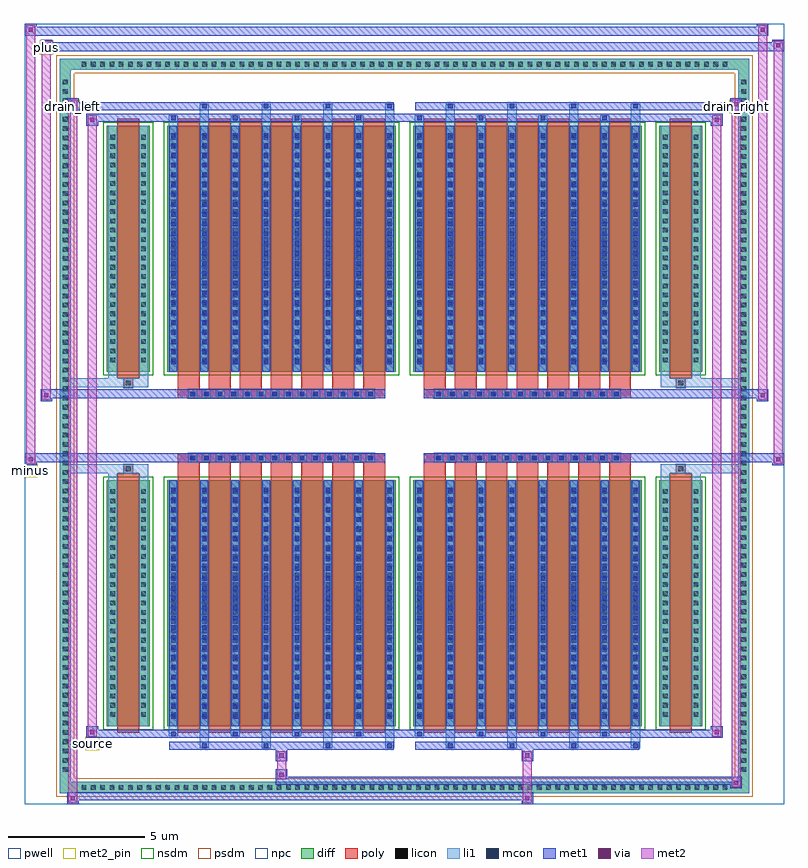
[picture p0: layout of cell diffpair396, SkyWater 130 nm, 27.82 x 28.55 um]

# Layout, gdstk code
import gdstk
lib = gdstk.Library(unit=1e-6, precision=5e-09)
def R(c, l, rs):  # rectangles x0, y0, x1, y1
    for r in rs: c.add(gdstk.rectangle(r[:2], r[2:], *l))
def A(c, l, x, y, w, h, nx, ny, dx, dy):  # array of equal rectangles
    R(c, l, [(x+i*dx, y+j*dy, x+i*dx+w, y+j*dy+h) for i in range(nx) for j in range(ny)])
def P(c, l, *ps):  # polygons
    for p in ps: c.add(gdstk.Polygon(p, *l))
pwell = (64, 44)
diff = (65, 20)
poly = (66, 20)
licon = (66, 44)
li1 = (67, 20)
mcon = (67, 44)
met1 = (68, 20)
via = (68, 44)
met2_pin = (69, 16)
met2 = (69, 20)
nsdm = (93, 44)
psdm = (94, 20)
npc = (95, 20)

diffpair396 = lib.new_cell('diffpair396')
R(diffpair396, pwell, [(-13.89,-13.84,13.89,14.71), (-11.21,-12.03,-0.01,-0.805), (0.01,-12.03,11.21,-0.805), (-11.21,0.805,-0.01,12.03), (0.01,0.805,11.21,12.03)])
A(diffpair396, diff, -11.935, -13.44, 0.41, 0.41, 70, 2, 0.34, 26.47)
A(diffpair396, diff, -12.62, -12.785, 0.41, 0.41, 1, 75, 0, 0.34)
A(diffpair396, diff, 12.21, -12.785, 0.41, 0.41, 1, 75, 0, 0.34)
R(diffpair396, diff, [(-11.935,-13.44,11.935,-13.03), (-12.62,-12.785,-12.21,12.785), (12.21,-12.785,12.62,12.785), (-10.9,-10.985,-9.32,-1.985), (-8.68,-10.985,-0.32,-1.985), (0.32,-10.985,8.68,-1.985), (9.32,-10.985,10.9,-1.985), (-10.9,1.985,-9.32,10.985), (-8.68,1.985,-0.32,10.985), (0.32,1.985,8.68,10.985), (9.32,1.985,10.9,10.985), (-11.935,13.03,11.935,13.44)])
P(diffpair396, diff, [(12.62,13.44),(-12.62,13.44),(-12.62,-13.03),(-12.21,-13.03),(-12.21,13.03),(12.21,13.03),(12.21,-13.03),(-12.21,-13.03),(-12.62,-13.03),(-12.62,-13.44),(12.62,-13.44)])
A(diffpair396, poly, -8.29, -11.235, 0.8, 9.5, 7, 2, 1.13, 12.97)
A(diffpair396, poly, 0.71, -11.235, 0.8, 9.5, 7, 2, 1.13, 12.97)
A(diffpair396, poly, -8.29, -1.735, 0.8, 0.4, 7, 2, 1.13, 3.07)
A(diffpair396, poly, 0.71, -1.735, 0.8, 0.4, 7, 2, 1.13, 3.07)
A(diffpair396, poly, -7.915, -1.335, 0.33, 0.33, 14, 2, 0.5, 2.34)
A(diffpair396, poly, 1.085, -1.335, 0.33, 0.33, 14, 2, 0.5, 2.34)
R(diffpair396, poly, [(-10.51,-11.235,-9.71,-1.735), (9.71,-11.235,10.51,-1.735), (-10.275,-1.735,-9.945,-1.405), (-10.275,-1.735,-9.945,-1.405), (9.945,-1.735,10.275,-1.405), (9.945,-1.735,10.275,-1.405), (-8.29,-1.335,-0.71,-1.005), (0.71,-1.335,8.29,-1.005), (-8.29,1.005,-0.71,1.335), (0.71,1.005,8.29,1.335), (-10.275,1.405,-9.945,1.735), (-10.275,1.405,-9.945,1.735), (9.945,1.405,10.275,1.735), (9.945,1.405,10.275,1.735), (-10.51,1.735,-9.71,11.235), (9.71,1.735,10.51,11.235)])
A(diffpair396, licon, -11.815, -13.32, 0.17, 0.17, 70, 2, 0.34, 26.47)
A(diffpair396, licon, -12.5, -12.665, 0.17, 0.17, 1, 75, 0, 0.34)
A(diffpair396, licon, 12.33, -12.665, 0.17, 0.17, 1, 75, 0, 0.34)
A(diffpair396, licon, -10.76, -10.65, 0.17, 0.17, 1, 25, 0, 0.34)
A(diffpair396, licon, -9.63, -10.65, 0.17, 0.17, 1, 25, 0, 0.34)
A(diffpair396, licon, -8.54, -10.65, 0.17, 0.17, 8, 25, 1.13, 0.34)
A(diffpair396, licon, 0.46, -10.65, 0.17, 0.17, 8, 25, 1.13, 0.34)
A(diffpair396, licon, 9.46, -10.65, 0.17, 0.17, 1, 25, 0, 0.34)
A(diffpair396, licon, 10.59, -10.65, 0.17, 0.17, 1, 25, 0, 0.34)
A(diffpair396, licon, -7.835, -1.255, 0.17, 0.17, 14, 2, 0.5, 2.34)
A(diffpair396, licon, 1.165, -1.255, 0.17, 0.17, 14, 2, 0.5, 2.34)
A(diffpair396, licon, -10.76, 2.32, 0.17, 0.17, 1, 25, 0, 0.34)
A(diffpair396, licon, -9.63, 2.32, 0.17, 0.17, 1, 25, 0, 0.34)
A(diffpair396, licon, -8.54, 2.32, 0.17, 0.17, 8, 25, 1.13, 0.34)
A(diffpair396, licon, 0.46, 2.32, 0.17, 0.17, 8, 25, 1.13, 0.34)
A(diffpair396, licon, 9.46, 2.32, 0.17, 0.17, 1, 25, 0, 0.34)
A(diffpair396, licon, 10.59, 2.32, 0.17, 0.17, 1, 25, 0, 0.34)
R(diffpair396, licon, [(-10.195,-1.655,-10.025,-1.485), (10.025,-1.655,10.195,-1.485), (-10.195,1.485,-10.025,1.655), (10.025,1.485,10.195,1.655)])
A(diffpair396, li1, -11.895, -13.4, 0.33, 0.33, 70, 2, 0.34, 26.47)
A(diffpair396, li1, -12.58, -12.745, 0.33, 0.33, 1, 75, 0, 0.34)
A(diffpair396, li1, 12.25, -12.745, 0.33, 0.33, 1, 75, 0, 0.34)
A(diffpair396, li1, -7.49, -11.79, 0.33, 0.805, 4, 2, 2.26, 22.775)
A(diffpair396, li1, -7.41, -11.79, 0.17, 0.17, 4, 2, 2.26, 23.41)
A(diffpair396, li1, 1.51, -11.79, 0.33, 0.805, 4, 2, 2.26, 22.775)
A(diffpair396, li1, 1.59, -11.79, 0.17, 0.17, 4, 2, 2.26, 23.41)
A(diffpair396, li1, -8.62, -11.36, 0.33, 0.375, 4, 2, 2.26, 22.345)
A(diffpair396, li1, -8.54, -11.36, 0.17, 0.17, 4, 2, 2.26, 22.55)
A(diffpair396, li1, 0.38, -11.36, 0.33, 0.375, 4, 2, 2.26, 22.345)
A(diffpair396, li1, 0.46, -11.36, 0.17, 0.17, 4, 2, 2.26, 22.55)
A(diffpair396, li1, -8.62, -10.985, 0.33, 9, 8, 2, 1.13, 12.97)
A(diffpair396, li1, 0.38, -10.985, 0.33, 9, 8, 2, 1.13, 12.97)
A(diffpair396, li1, -10.84, -10.73, 0.33, 0.33, 1, 25, 0, 0.34)
A(diffpair396, li1, -9.71, -10.73, 0.33, 0.33, 1, 25, 0, 0.34)
A(diffpair396, li1, -8.62, -10.73, 0.33, 0.33, 8, 25, 1.13, 0.34)
A(diffpair396, li1, 0.38, -10.73, 0.33, 0.33, 8, 25, 1.13, 0.34)
A(diffpair396, li1, 9.38, -10.73, 0.33, 0.33, 1, 25, 0, 0.34)
A(diffpair396, li1, 10.51, -10.73, 0.33, 0.33, 1, 25, 0, 0.34)
A(diffpair396, li1, -8.54, -10.71, 0.17, 0.17, 8, 24, 1.13, 0.36)
A(diffpair396, li1, -8.54, -10.71, 0.17, 8.45, 8, 2, 1.13, 12.97)
A(diffpair396, li1, 0.46, -10.71, 0.17, 0.17, 8, 24, 1.13, 0.36)
A(diffpair396, li1, 0.46, -10.71, 0.17, 8.45, 8, 2, 1.13, 12.97)
A(diffpair396, li1, -7.915, -1.335, 0.33, 0.33, 14, 2, 0.5, 2.34)
A(diffpair396, li1, 1.085, -1.335, 0.33, 0.33, 14, 2, 0.5, 2.34)
A(diffpair396, li1, -10.84, 2.24, 0.33, 0.33, 1, 25, 0, 0.34)
A(diffpair396, li1, -9.71, 2.24, 0.33, 0.33, 1, 25, 0, 0.34)
A(diffpair396, li1, -8.62, 2.24, 0.33, 0.33, 8, 25, 1.13, 0.34)
A(diffpair396, li1, 0.38, 2.24, 0.33, 0.33, 8, 25, 1.13, 0.34)
A(diffpair396, li1, 9.38, 2.24, 0.33, 0.33, 1, 25, 0, 0.34)
A(diffpair396, li1, 10.51, 2.24, 0.33, 0.33, 1, 25, 0, 0.34)
A(diffpair396, li1, -8.54, 2.26, 0.17, 0.17, 8, 24, 1.13, 0.36)
A(diffpair396, li1, 0.46, 2.26, 0.17, 0.17, 8, 24, 1.13, 0.36)
R(diffpair396, li1, [(-12.62,-13.44,-12.21,-13.03), (-12.62,-13.44,-12.21,-13.03), (-12.21,-13.44,12.21,-13.03), (12.21,-13.44,12.62,-13.03), (12.21,-13.44,12.62,-13.03), (-12.62,-13.03,-12.21,13.03), (12.21,-13.03,12.62,13.03), (-10.84,-10.985,-10.51,-1.985), (-9.71,-10.985,-9.38,-1.985), (9.38,-10.985,9.71,-1.985), (10.51,-10.985,10.84,-1.985), (-10.84,-1.985,-10.51,-1.405), (-9.71,-1.985,-9.38,-1.405), (9.38,-1.985,9.71,-1.405), (10.51,-1.985,10.84,-1.405), (-12.62,-1.735,-10.275,-1.405), (-10.84,-1.735,-10.275,-1.405), (-10.275,-1.735,-9.945,-1.405), (-9.945,-1.735,-9.38,-1.405), (9.38,-1.735,9.945,-1.405), (9.945,-1.735,10.275,-1.405), (9.945,-1.735,12.62,-1.405), (10.275,-1.735,10.84,-1.405), (-12.62,1.405,-10.275,1.735), (-10.84,1.405,-10.275,1.735), (-10.84,1.405,-10.51,1.985), (-10.275,1.405,-9.945,1.735), (-9.945,1.405,-9.38,1.735), (-9.71,1.405,-9.38,1.985), (9.38,1.405,9.945,1.735), (9.38,1.405,9.71,1.985), (9.945,1.405,10.275,1.735), (9.945,1.405,12.62,1.735), (10.275,1.405,10.84,1.735), (10.51,1.405,10.84,1.985), (-10.84,1.985,-10.51,10.985), (-9.71,1.985,-9.38,10.985), (9.38,1.985,9.71,10.985), (10.51,1.985,10.84,10.985), (-12.62,13.03,-12.21,13.44), (-12.62,13.03,-12.21,13.44), (-12.21,13.03,12.21,13.44), (12.21,13.03,12.62,13.44), (12.21,13.03,12.62,13.44)])
A(diffpair396, mcon, -7.41, -11.79, 0.17, 0.17, 4, 2, 2.26, 23.41)
A(diffpair396, mcon, 1.59, -11.79, 0.17, 0.17, 4, 2, 2.26, 23.41)
A(diffpair396, mcon, -8.54, -11.36, 0.17, 0.17, 4, 2, 2.26, 22.55)
A(diffpair396, mcon, 0.46, -11.36, 0.17, 0.17, 4, 2, 2.26, 22.55)
A(diffpair396, mcon, -8.54, -10.71, 0.17, 0.17, 8, 24, 1.13, 0.36)
A(diffpair396, mcon, 0.46, -10.71, 0.17, 0.17, 8, 24, 1.13, 0.36)
A(diffpair396, mcon, -7.835, -1.255, 0.17, 0.17, 14, 2, 0.5, 2.34)
A(diffpair396, mcon, 1.165, -1.255, 0.17, 0.17, 14, 2, 0.5, 2.34)
A(diffpair396, mcon, -8.54, 2.26, 0.17, 0.17, 8, 24, 1.13, 0.36)
A(diffpair396, mcon, 0.46, 2.26, 0.17, 0.17, 8, 24, 1.13, 0.36)
A(diffpair396, met1, -7.47, -11.85, 0.29, 0.29, 4, 2, 2.26, 23.41)
A(diffpair396, met1, 1.53, -11.85, 0.29, 0.29, 4, 2, 2.26, 23.41)
A(diffpair396, met1, -8.6, -11.42, 0.29, 0.29, 4, 2, 2.26, 22.55)
A(diffpair396, met1, 0.4, -11.42, 0.29, 0.29, 4, 2, 2.26, 22.55)
A(diffpair396, met1, -8.6, -10.985, 0.29, 9, 8, 2, 1.13, 12.97)
A(diffpair396, met1, 0.4, -10.985, 0.29, 9, 8, 2, 1.13, 12.97)
A(diffpair396, met1, -8.6, -10.77, 0.29, 0.29, 8, 24, 1.13, 0.36)
A(diffpair396, met1, 0.4, -10.77, 0.29, 0.29, 8, 24, 1.13, 0.36)
A(diffpair396, met1, -7.895, -1.315, 0.29, 0.29, 14, 2, 0.5, 2.34)
A(diffpair396, met1, 1.105, -1.315, 0.29, 0.29, 14, 2, 0.5, 2.34)
A(diffpair396, met1, -8.6, 2.2, 0.29, 0.29, 8, 24, 1.13, 0.36)
A(diffpair396, met1, 0.4, 2.2, 0.29, 0.29, 8, 24, 1.13, 0.36)
R(diffpair396, met1, [(-12.35,-13.84,-11.92,-13.41), (4.285,-13.84,4.715,-13.41), (-12.35,-13.7,4.715,-13.41), (11.92,-13.27,12.35,-12.84), (-4.715,-13.13,12.35,-12.84), (-4.715,-12.99,-4.285,-12.56), (-4.715,-12.28,-4.285,-11.85), (4.285,-12.28,4.715,-11.85), (-8.6,-11.85,-0.4,-11.56), (0.4,-11.85,8.6,-11.56), (-11.64,-11.42,-11.21,-10.99), (-11.64,-11.42,-8.6,-11.13), (-8.6,-11.42,-0.4,-11.13), (-0.4,-11.42,0.4,-11.13), (0.4,-11.42,8.6,-11.13), (8.6,-11.42,11.64,-11.13), (11.21,-11.42,11.64,-10.99), (-13.89,-1.435,-13.46,-1.005), (13.46,-1.435,13.89,-1.005), (-13.89,-1.335,-0.71,-1.005), (-8.29,-1.335,-0.71,-1.005), (0.71,-1.335,8.29,-1.005), (0.71,-1.335,13.89,-1.005), (-13.32,0.905,-12.89,1.335), (12.89,0.905,13.32,1.335), (-13.32,1.005,-8.29,1.335), (-8.29,1.005,-0.71,1.335), (0.71,1.005,8.29,1.335), (8.29,1.005,13.32,1.335), (-11.64,10.99,-11.21,11.42), (11.21,10.99,11.64,11.42), (-11.64,11.13,-8.6,11.42), (-8.6,11.13,-0.4,11.42), (-0.4,11.13,0.4,11.42), (0.4,11.13,8.6,11.42), (8.6,11.13,11.64,11.42), (-12.35,11.56,-11.92,11.99), (-12.35,11.56,-8.6,11.85), (-8.6,11.56,-0.4,11.85), (0.4,11.56,8.6,11.85), (8.6,11.56,12.35,11.85), (11.92,11.56,12.35,11.99), (-13.32,13.71,-12.89,14.14), (-13.32,13.71,-11.21,14.04), (-11.21,13.71,11.21,14.04), (11.21,13.71,13.89,14.04), (13.46,13.71,13.89,14.14), (-13.89,14.28,-13.46,14.71), (-13.89,14.28,-11.21,14.61), (-11.21,14.28,11.21,14.61), (11.21,14.28,13.32,14.61), (12.89,14.28,13.32,14.71)])
R(diffpair396, via, [(-12.21,-13.7,-12.06,-13.55), (4.425,-13.7,4.575,-13.55), (12.06,-13.13,12.21,-12.98), (-4.575,-12.85,-4.425,-12.7), (-4.575,-12.14,-4.425,-11.99), (4.425,-12.14,4.575,-11.99), (-11.5,-11.28,-11.35,-11.13), (11.35,-11.28,11.5,-11.13), (-13.75,-1.295,-13.6,-1.145), (13.6,-1.295,13.75,-1.145), (-13.18,1.045,-13.03,1.195), (13.03,1.045,13.18,1.195), (-11.5,11.13,-11.35,11.28), (11.35,11.13,11.5,11.28), (-12.21,11.7,-12.06,11.85), (12.06,11.7,12.21,11.85), (-13.18,13.85,-13.03,14), (13.6,13.85,13.75,14), (-13.75,14.42,-13.6,14.57), (13.03,14.42,13.18,14.57)])
R(diffpair396, met2_pin, [(-11.675,-11.87,-11.175,-11.37), (-13.925,-1.885,-13.425,-1.385), (-12.385,11.44,-11.885,11.94), (11.885,11.44,12.385,11.94), (-13.355,13.59,-12.855,14.09)])
R(diffpair396, met2, [(-12.3,-13.79,-11.97,-13.46), (-12.3,-13.79,-11.97,11.94), (4.335,-13.79,4.665,-13.46), (4.335,-13.46,4.665,-12.23), (11.97,-13.22,12.3,-12.89), (11.97,-13.22,12.3,11.94), (-4.665,-12.94,-4.335,-12.61), (-4.665,-12.61,-4.335,-12.23), (-4.665,-12.23,-4.335,-11.9), (4.335,-12.23,4.665,-11.9), (-11.59,-11.37,-11.26,-11.04), (-11.59,-11.37,-11.26,11.37), (11.26,-11.37,11.59,-11.04), (11.26,-11.37,11.59,11.37), (-13.84,-1.385,-13.51,-1.055), (-13.84,-1.385,-13.51,14.66), (13.51,-1.385,13.84,-1.055), (13.51,-1.385,13.84,14.09), (-13.27,0.955,-12.94,1.285), (-13.27,0.955,-12.94,14.09), (12.94,0.955,13.27,1.285), (12.94,0.955,13.27,14.66), (-11.59,11.04,-11.26,11.37), (11.26,11.04,11.59,11.37), (-12.3,11.61,-11.97,11.94), (11.97,11.61,12.3,11.94), (-13.27,13.76,-12.94,14.09), (13.51,13.76,13.84,14.09), (-13.84,14.33,-13.51,14.66), (12.94,14.33,13.27,14.66)])
P(diffpair396, met2, [(13.84,-1.385),(13.84,-1.385),(13.84,-1.055),(13.84,-1.055)],
  [(13.84,13.76),(13.84,13.76),(13.84,14.09),(13.84,14.09)],
  [(-13.51,-1.385),(-13.51,-1.385),(-13.51,-1.055),(-13.51,-1.055)],
  [(-13.51,14.33),(-13.51,14.33),(-13.51,14.66),(-13.51,14.66)],
  [(13.27,0.955),(13.27,0.955),(13.27,1.285),(13.27,1.285)],
  [(13.27,14.33),(13.27,14.33),(13.27,14.66),(13.27,14.66)],
  [(-12.94,0.955),(-12.94,0.955),(-12.94,1.285),(-12.94,1.285)],
  [(-12.94,13.76),(-12.94,13.76),(-12.94,14.09),(-12.94,14.09)],
  [(-11.97,-13.79),(-11.97,-13.79),(-11.97,-13.46),(-11.97,-13.46)],
  [(-11.97,11.61),(-11.97,11.61),(-11.97,11.94),(-11.97,11.94)],
  [(12.3,-13.22),(12.3,-13.22),(12.3,-12.89),(12.3,-12.89)],
  [(12.3,11.61),(12.3,11.61),(12.3,11.94),(12.3,11.94)],
  [(-11.26,-11.37),(-11.26,-11.37),(-11.26,-11.04),(-11.26,-11.04)],
  [(-11.26,11.04),(-11.26,11.04),(-11.26,11.37),(-11.26,11.37)],
  [(11.59,-11.37),(11.59,-11.37),(11.59,-11.04),(11.59,-11.04)],
  [(11.59,11.04),(11.59,11.04),(11.59,11.37),(11.59,11.37)])
R(diffpair396, nsdm, [(-11.03,-11.115,-9.19,-1.855), (-8.81,-11.115,-0.19,-1.855), (0.19,-11.115,8.81,-1.855), (9.19,-11.115,11.03,-1.855), (-11.03,1.855,-9.19,11.115), (-8.81,1.855,-0.19,11.115), (0.19,1.855,8.81,11.115), (9.19,1.855,11.03,11.115)])
P(diffpair396, psdm, [(12.75,13.57),(-12.75,13.57),(-12.75,-12.9),(-12.08,-12.9),(-12.08,12.9),(12.08,12.9),(12.08,-12.9),(-12.08,-12.9),(-12.75,-12.9),(-12.75,-13.57),(12.75,-13.57)])
A(diffpair396, npc, -7.935, -1.355, 0.37, 0.37, 14, 2, 0.5, 2.34)
A(diffpair396, npc, 1.065, -1.355, 0.37, 0.37, 14, 2, 0.5, 2.34)
R(diffpair396, npc, [(-10.295,-1.755,-9.925,-1.385), (9.925,-1.755,10.295,-1.385), (-7.935,-1.355,-7.065,-0.985), (-7.935,-1.355,-7.065,-0.985), (-7.435,-1.355,-6.565,-0.985), (-7.435,-1.355,-6.565,-0.985), (-6.935,-1.355,-6.065,-0.985), (-6.935,-1.355,-6.065,-0.985), (-6.435,-1.355,-5.565,-0.985), (-6.435,-1.355,-5.565,-0.985), (-5.935,-1.355,-5.065,-0.985), (-5.935,-1.355,-5.065,-0.985), (-5.435,-1.355,-4.565,-0.985), (-5.435,-1.355,-4.565,-0.985), (-4.935,-1.355,-4.065,-0.985), (-4.935,-1.355,-4.065,-0.985), (-4.435,-1.355,-3.565,-0.985), (-4.435,-1.355,-3.565,-0.985), (-3.935,-1.355,-3.065,-0.985), (-3.935,-1.355,-3.065,-0.985), (-3.435,-1.355,-2.565,-0.985), (-3.435,-1.355,-2.565,-0.985), (-2.935,-1.355,-2.065,-0.985), (-2.935,-1.355,-2.065,-0.985), (-2.435,-1.355,-1.565,-0.985), (-2.435,-1.355,-1.565,-0.985), (-1.935,-1.355,-1.065,-0.985), (-1.935,-1.355,-1.065,-0.985), (1.065,-1.355,1.935,-0.985), (1.065,-1.355,1.935,-0.985), (1.565,-1.355,2.435,-0.985), (1.565,-1.355,2.435,-0.985), (2.065,-1.355,2.935,-0.985), (2.065,-1.355,2.935,-0.985), (2.565,-1.355,3.435,-0.985), (2.565,-1.355,3.435,-0.985), (3.065,-1.355,3.935,-0.985), (3.065,-1.355,3.935,-0.985), (3.565,-1.355,4.435,-0.985), (3.565,-1.355,4.435,-0.985), (4.065,-1.355,4.935,-0.985), (4.065,-1.355,4.935,-0.985), (4.565,-1.355,5.435,-0.985), (4.565,-1.355,5.435,-0.985), (5.065,-1.355,5.935,-0.985), (5.065,-1.355,5.935,-0.985), (5.565,-1.355,6.435,-0.985), (5.565,-1.355,6.435,-0.985), (6.065,-1.355,6.935,-0.985), (6.065,-1.355,6.935,-0.985), (6.565,-1.355,7.435,-0.985), (6.565,-1.355,7.435,-0.985), (7.065,-1.355,7.935,-0.985), (7.065,-1.355,7.935,-0.985), (-7.935,0.985,-7.065,1.355), (-7.935,0.985,-7.065,1.355), (-7.435,0.985,-6.565,1.355), (-7.435,0.985,-6.565,1.355), (-6.935,0.985,-6.065,1.355), (-6.935,0.985,-6.065,1.355), (-6.435,0.985,-5.565,1.355), (-6.435,0.985,-5.565,1.355), (-5.935,0.985,-5.065,1.355), (-5.935,0.985,-5.065,1.355), (-5.435,0.985,-4.565,1.355), (-5.435,0.985,-4.565,1.355), (-4.935,0.985,-4.065,1.355), (-4.935,0.985,-4.065,1.355), (-4.435,0.985,-3.565,1.355), (-4.435,0.985,-3.565,1.355), (-3.935,0.985,-3.065,1.355), (-3.935,0.985,-3.065,1.355), (-3.435,0.985,-2.565,1.355), (-3.435,0.985,-2.565,1.355), (-2.935,0.985,-2.065,1.355), (-2.935,0.985,-2.065,1.355), (-2.435,0.985,-1.565,1.355), (-2.435,0.985,-1.565,1.355), (-1.935,0.985,-1.065,1.355), (-1.935,0.985,-1.065,1.355), (1.065,0.985,1.935,1.355), (1.065,0.985,1.935,1.355), (1.565,0.985,2.435,1.355), (1.565,0.985,2.435,1.355), (2.065,0.985,2.935,1.355), (2.065,0.985,2.935,1.355), (2.565,0.985,3.435,1.355), (2.565,0.985,3.435,1.355), (3.065,0.985,3.935,1.355), (3.065,0.985,3.935,1.355), (3.565,0.985,4.435,1.355), (3.565,0.985,4.435,1.355), (4.065,0.985,4.935,1.355), (4.065,0.985,4.935,1.355), (4.565,0.985,5.435,1.355), (4.565,0.985,5.435,1.355), (5.065,0.985,5.935,1.355), (5.065,0.985,5.935,1.355), (5.565,0.985,6.435,1.355), (5.565,0.985,6.435,1.355), (6.065,0.985,6.935,1.355), (6.065,0.985,6.935,1.355), (6.565,0.985,7.435,1.355), (6.565,0.985,7.435,1.355), (7.065,0.985,7.935,1.355), (7.065,0.985,7.935,1.355), (-10.295,1.385,-9.925,1.755), (9.925,1.385,10.295,1.755)])
diffpair396.add(gdstk.Label('minus', (-13.675,-1.635), layer=69, texttype=5))
diffpair396.add(gdstk.Label('drain_right', (12.135,11.69), layer=69, texttype=5))
diffpair396.add(gdstk.Label('drain_left', (-12.135,11.69), layer=69, texttype=5))
diffpair396.add(gdstk.Label('source', (-11.425,-11.62), layer=69, texttype=5))
diffpair396.add(gdstk.Label('plus', (-13.105,13.84), layer=69, texttype=5))

lib.write_gds('diffpair396.gds')
